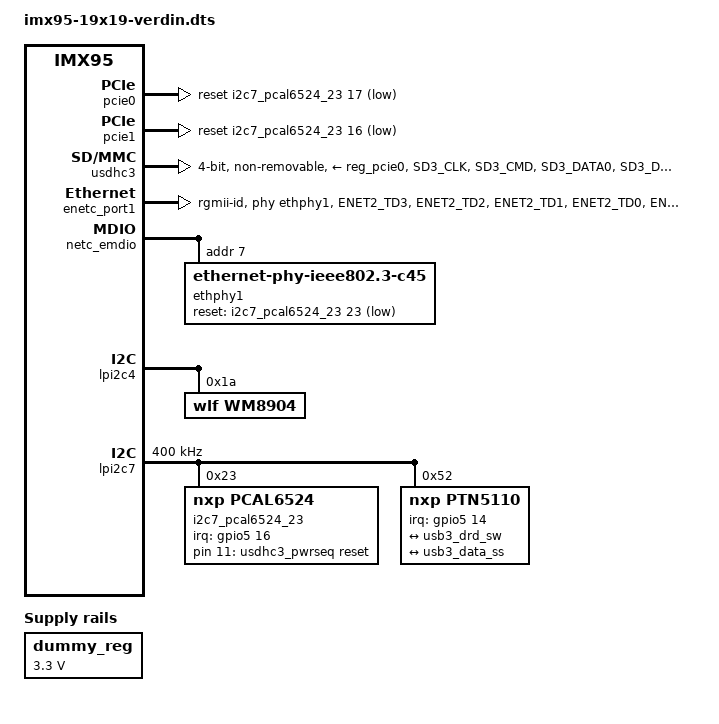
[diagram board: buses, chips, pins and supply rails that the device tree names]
// SPDX-License-Identifier: (GPL-2.0+ OR MIT)
/*
 * Copyright 2023 NXP
 */

#include "imx95-19x19-evk.dts"

/ {
	aliases {
		ethernet0 = &enetc_port0;
		ethernet1 = &enetc_port1;
		ethernet2 = &enetc_port2;
	};

	chosen {
		stdout-path = &lpuart1;
		#address-cells = <2>;
		#size-cells = <2>;
		/* will be updated by U-boot when booting Xen */
		module@0 {
			bootargs = "console=hvc0 loglevel=8 root=/dev/mmcblk1p2 rw rootwait";
			compatible = "xen,linux-zimage", "xen,multiboot-module";
			reg = <0x00000000 0x9e000000 0x00000000 0x2000000>;
		};
	};

	dummy_reg: dummy_reg {
		compatible = "regulator-fixed";
		regulator-name = "dummy_reg";
		regulator-min-microvolt = <3300000>;
		regulator-max-microvolt = <3300000>;
	};

	usdhc3_pwrseq: usdhc3_pwrseq {
		compatible = "mmc-pwrseq-simple";
		reset-gpio = <&i2c7_pcal6524_23 11 GPIO_ACTIVE_HIGH>;
	};

	/delete-node/ reg_serdes_stby;
	/delete-node/ regulator-mac-stby;
	/delete-node/ reg_slot_pwr;
	/delete-node/ regulator-slot-pwr;
	/delete-node/ regulator-audio-pwr;
	/delete-node/ regulator-audio-slot;
	/delete-node/ sound-wm8962;
	/delete-node/ pca9632;
	/delete-node/ i2c3_gpio_expander_20;

	sound-wm8904 {
		compatible = "fsl,imx-audio-wm8904";
		model = "wm8904-audio";
		audio-cpu = <&sai3>;
		audio-codec = <&wm8904>;
		audio-routing =
			"Headphone Jack", "HPOUTL",
			"Headphone Jack", "HPOUTR",
			"AMIC", "MICBIAS",
			"IN2L", "AMIC";
	};
};

&reg_can1_stby {
	gpio = <&i2c7_pcal6524_23 0 GPIO_ACTIVE_HIGH>;
};

&reg_can1_en {
	gpio = <&i2c7_pcal6524_23 2 GPIO_ACTIVE_HIGH>;
};

&reg_can2_stby {
	gpio = <&i2c7_pcal6524_23 3 GPIO_ACTIVE_HIGH>;
};

&reg_can2_en {
	gpio = <&i2c7_pcal6524_23 5 GPIO_ACTIVE_HIGH>;
};

&reg_usb_vbus {
	gpio = <&i2c7_pcal6524_23 22 GPIO_ACTIVE_HIGH>;
};

&reg_aqr_stby {
	gpio = <&i2c7_pcal6524_23 8 GPIO_ACTIVE_HIGH>;
};

&reg_aqr_en {
	gpio = <&i2c7_pcal6524_23 21 GPIO_ACTIVE_HIGH>;
};

&reg_m2_pwr {
	gpio = <&gpio2 4 GPIO_ACTIVE_LOW>;
	/delete-property/ enable-active-high;
};

&reg_pcie0 {
	gpio = <&i2c7_pcal6524_23 18 GPIO_ACTIVE_HIGH>;
};

&pcie0 {
	reset-gpio = <&i2c7_pcal6524_23 17 GPIO_ACTIVE_LOW>;
};

&pcie1 {
	/delete-property/ vpcie-supply;
	reset-gpio = <&i2c7_pcal6524_23 16 GPIO_ACTIVE_LOW>;
};

&pcie1_ep {
	/delete-property/ vpcie-supply;
};

&reg_serdes_en {
	vin-supply = <&dummy_reg>;
	gpio = <&gpio4 28 GPIO_ACTIVE_LOW>;
};

&usdhc3 {
	pinctrl-names = "default";
	pinctrl-0 = <&pinctrl_usdhc3>;
	mmc-pwrseq = <&usdhc3_pwrseq>;
	vmmc-supply = <&reg_pcie0>;
	bus-width = <4>;
	keep-power-in-suspend;
	non-removable;
	status = "okay";
};

&enetc_port1 {
	pinctrl-names = "default";
	pinctrl-0 = <&pinctrl_enetc1>;
	phy-handle = <&ethphy1>;
	phy-mode = "rgmii-id";
	status = "okay";
};

&i2c6_gpio_expander_21 {
	status = "disabled";
};

&ethphy0 {
	reg = <1>;
	/delete-property/ reset-gpios;
};

&mt35xu01gbba {
		spi-max-frequency = <133000000>;
};

&netc_emdio {
	ethphy1: ethernet-phy@7 {
		compatible = "ethernet-phy-ieee802.3-c45";
		reg = <7>;
		reset-gpios = <&i2c7_pcal6524_23 23 GPIO_ACTIVE_LOW>;
		reset-assert-us = <200>;
		reset-deassert-us = <2000>;
		tx-internal-delay-ps = <1800>;
		rx-internal-delay-ps = <1666>;
	};
};

&i2c4_gpio_expander_21 {
	status = "disabled";
};

&lpi2c4 {
	/delete-node/ audio-codec@1a;

	wm8904: codec@1a {
		#sound-dai-cells = <0>;
		compatible = "wlf,wm8904";
		reg = <0x1a>;
		clocks = <&scmi_clk IMX95_CLK_SAI3>;
		clock-names = "mclk";
	};
};

&lpi2c7 {
	clock-frequency = <400000>;
	/delete-node/ tcpc@50;

	i2c7_pcal6524_23: i2c7-gpio@23 {
		compatible = "nxp,pcal6524";
		pinctrl-names = "default";
		pinctrl-0 = <&pinctrl_i2c7_pcal6524>;
		reg = <0x23>;
		gpio-controller;
		#gpio-cells = <2>;
		interrupt-controller;
		#interrupt-cells = <2>;
		interrupt-parent = <&gpio5>;
		interrupts = <16 IRQ_TYPE_LEVEL_LOW>;
	};

	ptn5110: tcpc@52 {
		compatible = "nxp,ptn5110";
		reg = <0x52>;
		interrupt-parent = <&gpio5>;
		interrupts = <14 IRQ_TYPE_LEVEL_LOW>;
		pinctrl-names = "default";
		pinctrl-0 = <&pinctrl_ptn5110>;

		port {
			typec_dr_sw: endpoint {
				remote-endpoint = <&usb3_drd_sw>;
			};
		};

		typec_con: connector {
			compatible = "usb-c-connector";
			label = "USB-C";
			power-role = "dual";
			data-role = "dual";
			try-power-role = "sink";
			source-pdos = <PDO_FIXED(5000, 3000, PDO_FIXED_USB_COMM)>;
			sink-pdos = <PDO_FIXED(5000, 3000, PDO_FIXED_USB_COMM)
				     PDO_VAR(5000, 20000, 3000)>;
			op-sink-microwatt = <15000000>;
			self-powered;

			ports {
				#address-cells = <1>;
				#size-cells = <0>;

				port@1 {
					reg = <1>;
					typec_con_ss: endpoint {
						remote-endpoint = <&usb3_data_ss>;
					};
				};
			};
		};
	};
};

&lpspi7 {
	status = "disabled";
};

&lpuart5 {
	bluetooth {
		fw-init-baudrate = <115200>;
	};
};

&scmi_iomuxc {
	pinctrl-names = "default";
	pinctrl-0 = <&pinctrl_hog>;

	pinctrl_hog: hoggrp {
		fsl,pins = <
			IMX95_PAD_GPIO_IO04__GPIO2_IO_BIT4	0x3fe
		>;
	};

	pinctrl_enetc1: enetc1grp {
		fsl,pins = <
			IMX95_PAD_ENET2_TD3__NETCMIX_TOP_ETH1_RGMII_TD3		0x57e
			IMX95_PAD_ENET2_TD2__NETCMIX_TOP_ETH1_RGMII_TD2		0x57e
			IMX95_PAD_ENET2_TD1__NETCMIX_TOP_ETH1_RGMII_TD1		0x57e
			IMX95_PAD_ENET2_TD0__NETCMIX_TOP_ETH1_RGMII_TD0		0x57e
			IMX95_PAD_ENET2_TX_CTL__NETCMIX_TOP_ETH1_RGMII_TX_CTL	0x57e
			IMX95_PAD_ENET2_TXC__NETCMIX_TOP_ETH1_RGMII_TX_CLK	0x58e
			IMX95_PAD_ENET2_RX_CTL__NETCMIX_TOP_ETH1_RGMII_RX_CTL	0x57e
			IMX95_PAD_ENET2_RXC__NETCMIX_TOP_ETH1_RGMII_RX_CLK	0x58e
			IMX95_PAD_ENET2_RD0__NETCMIX_TOP_ETH1_RGMII_RD0		0x57e
			IMX95_PAD_ENET2_RD1__NETCMIX_TOP_ETH1_RGMII_RD1		0x57e
			IMX95_PAD_ENET2_RD2__NETCMIX_TOP_ETH1_RGMII_RD2		0x57e
			IMX95_PAD_ENET2_RD3__NETCMIX_TOP_ETH1_RGMII_RD3		0x57e
		>;
	};

	pinctrl_pwm_3_dsi_hpd_gpio: dsihpdgrp {
		fsl,pins = <
			IMX95_PAD_GPIO_IO12__GPIO2_IO_BIT12			0x31e
		>;
	};

	pinctrl_usdhc3: usdhc3grp {
		fsl,pins = <
			IMX95_PAD_SD3_CLK__USDHC3_CLK				0x158e
			IMX95_PAD_SD3_CMD__USDHC3_CMD				0x138e
			IMX95_PAD_SD3_DATA0__USDHC3_DATA0			0x138e
			IMX95_PAD_SD3_DATA1__USDHC3_DATA1			0x138e
			IMX95_PAD_SD3_DATA2__USDHC3_DATA2			0x138e
			IMX95_PAD_SD3_DATA3__USDHC3_DATA3			0x138e
		>;
	};
};
